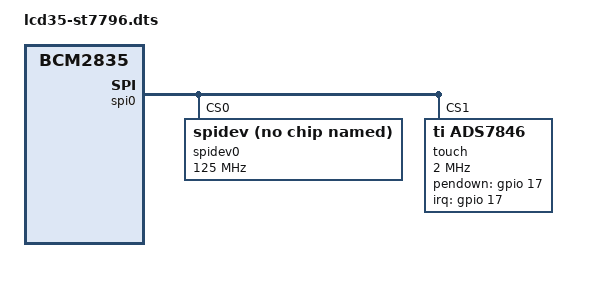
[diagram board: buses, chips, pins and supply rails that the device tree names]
/dts-v1/;
/plugin/;

/ {
	compatible = "brcm,bcm2835";
	fragment@0 {
		target = <&spi0>;
		 __overlay__ {
			#address-cells = <1>;
   			#size-cells = <0>;
			status = "okay";
			
			spidev0: spidev@0{
				status = "okay";
				compatible = "spidev";
				reg = <0>;	/* CE0 */
				#address-cells = <1>;
				#size-cells = <0>;
				spi-max-frequency = <125000000>;
			};


			
			touch@1{
				compatible = "ti,ads7846";
				reg = <0x1>;
				spi-max-frequency = <2000000>;
				status = "okay";

				interrupts = <17 0x02>;
				interrupt-parent = <&gpio>;
				pendown-gpio = <&gpio 17 0x00>;
			};


		};
	};
	fragment@1 {
		target = <&spi0>;
		 __overlay__ {
			#address-cells = <1>;
   			#size-cells = <0>;
			spidev1: spidev@1{
				status = "disable";
				reg = <0x1>;
			};
		 };
	};


};
